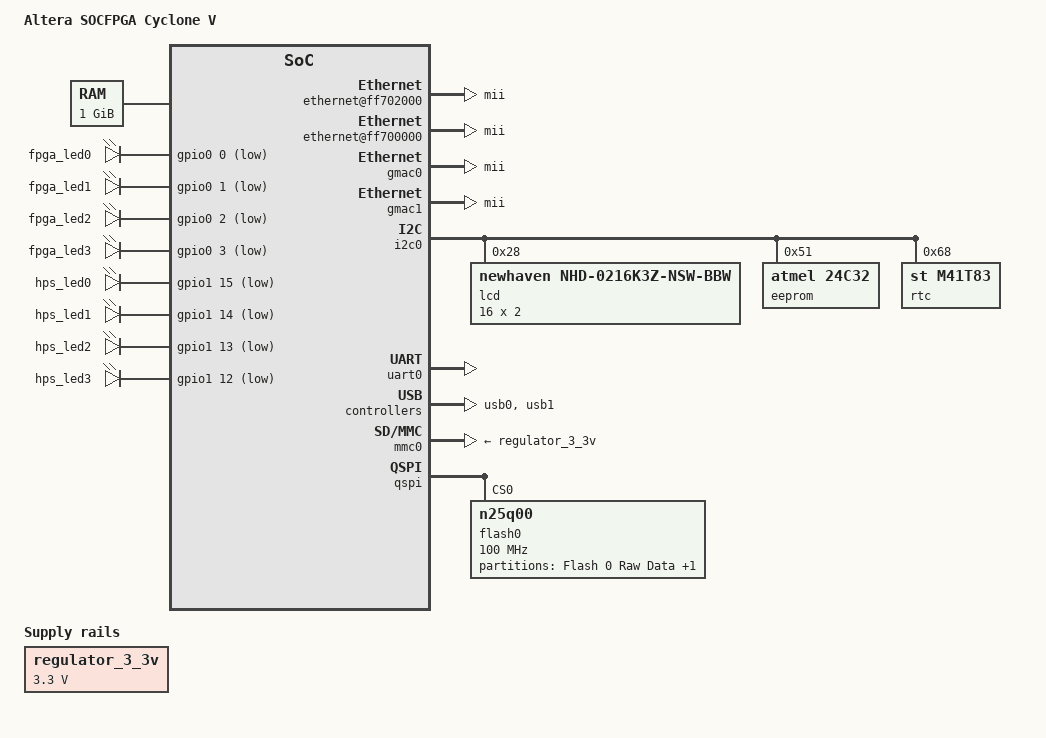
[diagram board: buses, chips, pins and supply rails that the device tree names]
/*
 * Copyright Altera Corporation (C) 2015. All rights reserved.
 *
 * This program is free software; you can redistribute it and/or modify
 * it under the terms and conditions of the GNU General Public License,
 * version 2, as published by the Free Software Foundation.
 *
 * This program is distributed in the hope it will be useful, but WITHOUT
 * ANY WARRANTY; without even the implied warranty of MERCHANTABILITY or
 * FITNESS FOR A PARTICULAR PURPOSE.  See the GNU General Public License for
 * more details.
 *
 * You should have received a copy of the GNU General Public License along with
 * this program.  If not, see <http://www.gnu.org/licenses/>.
 */

#include "socfpga_cyclone5.dtsi"

/ {
	model = "Altera SOCFPGA Cyclone V";
	compatible = "altr,socfpga-cyclone5", "altr,socfpga";

	chosen {
		bootargs = "console=ttyS0,57600 hw_dispid=45";
	};

	memory {
		name = "memory";
		device_type = "memory";
		reg = <0x0 0x40000000>; /* 1GB */
	};

	aliases {
		ethernet0 = &gmac0;
		ethernet1 = &gmac1;
	};

	regulator_3_3v: 3-3-v-regulator {
		compatible = "regulator-fixed";
		regulator-name = "3.3V";
		regulator-min-microvolt = <3300000>;
		regulator-max-microvolt = <3300000>;
	};

	ulti_sdc_0: ulti_sdc@0xFF230000 {
		compatible = "EXOR,ulti_sdc-13.1", "EXOR,ulti_sdc-1.0", "exor,ulti_sdc-1.0", "sdhci-ultimmc";
		reg = < 0xFF230000 0x0000ffff >;
		interrupt-parent = <&intc>;
		interrupts = < 0 43 4 >;
	}; //end ulti_sdc@0x100030000 (ulti_sdc_0)

	ethernet@ff702000 {
		phy-mode = "mii";
		phy-addr = <0x01>;
		status = "okay";
		reset0 = <&agpio0 0 0>;
		reset1 = <&agpio0 1 0>;
	};

	ethernet@ff700000 {
		phy-mode = "mii";
		phy-addr = <0x00>;
		status = "okay";
	};
		
	agpio0: gpio@0xff210010 {
		compatible = "altr,pio-1.0";
		reg = <0xff210010 0x10>;
		interrupts = <0 44 4>;
		width=<32>;
		altr,interrupt_type = < 4 >;
		#gpio-cells = <2>;
		gpio-controller;
		#interrupt-cells = <1>;
		interrupt-controller;
	};		

	leds {
		compatible = "gpio-leds";
		fpga0 {
			label = "fpga_led0";
			gpios = <&gpio0 0 1>;
		};

		fpga1 {
			label = "fpga_led1";
			gpios = <&gpio0 1 1>;
		};

		fpga2 {
			label = "fpga_led2";
			gpios = <&gpio0 2 1>;
		};

		fpga3 {
			label = "fpga_led3";
			gpios = <&gpio0 3 1>;
		};

		hps0 {
			label = "hps_led0";
			gpios = <&gpio1 15 1>;
		};

		hps1 {
			label = "hps_led1";
			gpios = <&gpio1 14 1>;
		};

		hps2 {
			label = "hps_led2";
			gpios = <&gpio1 13 1>;
		};

		hps3 {
			label = "hps_led3";
			gpios = <&gpio1 12 1>;
		};
	};
};

&gmac0 {
	phy-mode = "mii";
	snps,phy-addr = <0x00>;
	status = "okay";
};

&gmac1 {
	phy-mode = "mii";
	snps,phy-addr = <0x01>;
	rxd0-skew-ps = <0>;
	rxd0-skew-ps = <0>;
	rxd1-skew-ps = <0>;
	rxd2-skew-ps = <0>;
	rxd3-skew-ps = <0>;
	txen-skew-ps = <0>;
	txc-skew-ps = <2600>;
	rxdv-skew-ps = <0>;
	rxc-skew-ps = <2000>;
	snps,max-mtu = <3800>;
	status = "okay";
};

&gpio0 {
	status = "okay";
};

&gpio1 {
	status = "okay";
};

&gpio2 {
	status = "okay";
};

&i2c0 {
	status = "okay";
	speed-mode = <0>;

	/*
	 * adjust the falling times to decrease the i2c frequency to 50Khz
	 * because the LCD module does not work at the standard 100Khz
	 */
	i2c-sda-falling-time-ns = <5000>;
	i2c-scl-falling-time-ns = <5000>;

	lcd: lcd@28 {
		compatible = "newhaven,nhd-0216k3z-nsw-bbw";
		reg = <0x28>;
		height = <2>;
		width = <16>;
		brightness = <8>;
	};

	eeprom@51 {
		compatible = "atmel,24c32";
		reg = <0x51>;
		pagesize = <32>;
	};

	rtc@68 {
		compatible = "st,m41t83";
		reg = <0x68>;
	};
};

&uart0 {
	status = "okay";
};

&usb0 {
	status = "okay";
}; 

&usb1 {
	status = "okay";
}; 	


&mmc0 {
	vmmc-supply = <&regulator_3_3v>;
	vqmmc-supply = <&regulator_3_3v>;

	num-slots = <1>;
	supports-highspeed;
	broken-cd;
	altr,dw-mshc-ciu-div = <3>;
	altr,dw-mshc-sdr-timing = <0 3>;

	slot@0 {
		cd-gpios = <&gpio1 18 0>;
		reg = <0>;
		bus-width = <4>;
	};
};

&qspi {
	status = "okay";
	flash0: n25q00@0 {
		#address-cells = <1>;
		#size-cells = <1>;
		compatible = "n25q00";
		reg = <0>;      /* chip select */
		spi-max-frequency = <100000000>;
		m25p,fast-read;
		page-size = <256>;
		block-size = <16>; /* 2^16, 64KB */
		read-delay = <4>;  /* delay value in read data capture register */
		tshsl-ns = <50>;
		tsd2d-ns = <50>;
		tchsh-ns = <4>;
		tslch-ns = <4>;

		partition@qspi-boot {
		/* 8MB for raw data. */
		label = "Flash 0 Raw Data";
		reg = <0x0 0x800000>;
		};

		partition@qspi-rootfs {
		/* 120MB for jffs2 data. */
		label = "Flash 0 jffs2 Filesystem";
		reg = <0x800000 0x7800000>;
		};
	};
};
